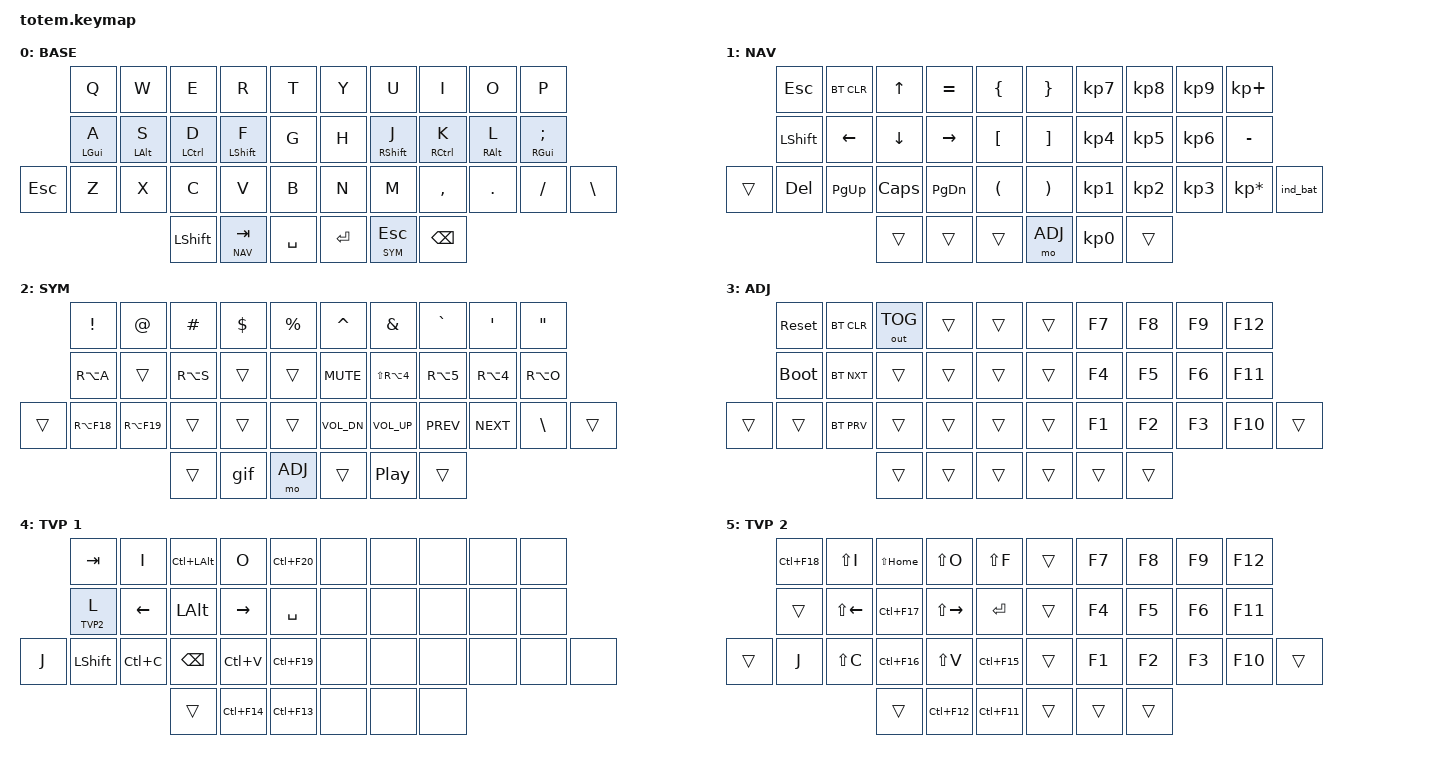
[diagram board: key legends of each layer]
//
//                                                        ▀▀▀▀▀     ▀▀▀▀▀          ▀▀█▀▀
//                                                        ▄▀▀▀▄  ▄  ▄▀▀▀▄  ▄  ▄▀▀▀▄  █  ▄▀▀▀▄
//                                                        █   █  █  █   █  █  █   █  █  █   █
//                                                         ▀▀▀   █   ▀▀▀   █   ▀▀▀   ▀   ▀▀▀
//                                                               █      ▄▄▄█▄▄▄    █   █  
//                                                               ▀      █  █  █     █▄█
//                                                             ▀▀▀▀▀    █  █  █      ▀
//                                                                      ▀  ▀  ▀
//
// ▄▄▄▄▄▄▄▄▄▄▄▄▄▄▄▄▄▄▄▄▄▄▄▄▄▄▄▄▄▄▄▄▄▄▄▄▄▄▄▄▄▄▄▄▄▄▄▄▄▄▄▄▄▄▄▄▄▄▄▄▄▄▄▄▄▄▄▄▄▄▄▄▄▄▄▄▄▄▄▄▄▄▄▄▄▄▄▄▄▄▄▄▄▄▄▄▄▄▄▄▄▄▄▄▄▄▄▄▄▄▄▄▄▄▄▄▄▄▄▄▄▄▄▄▄▄▄▄▄▄▄▄▄▄▄▄▄▄▄▄▄▄▄▄▄▄▄▄▄

#include <behaviors.dtsi>
#include <dt-bindings/zmk/bt.h>
#include <dt-bindings/zmk/keys.h>
#include <dt-bindings/zmk/outputs.h>
// RGB LED Widget behaviors (from rgbled_adapter shield)
#include <behaviors/rgbled_widget.dtsi>
// These behaviors are available when using the rgbled_adapter shield:
// - &ind_bat: Show battery level indicator (blinks once: green/yellow/red based on battery %)
// - &ind_con: Show connection status indicator (blinks: blue=connected, yellow=advertising, red=disconnected)
// - &ind_lyr: Show layer indicator (NOTE: it's ind_lyr, not ind_layer!)

#define BASE 0
#define NAV  1
#define SYM  2
#define ADJ  3
#define TVP1 4
#define TVP2 5

&mt {
    quick-tap-ms = <100>;
    global-quick-tap;
    flavor = "tap-preferred";
    tapping-term-ms = <170>;
};

/ {
    combos {
        compatible = "zmk,combos";

        combo_esc {
            timeout-ms = <50>;
            key-positions = <0 1>;
            bindings = <&kp ESC>;
        };

        combo_tvp {
            timeout-ms = <100>;
            key-positions = <11 12 13>;
            bindings = <&tog TVP1>;
        };
    };

    macros {
        gif: gif {
            label = "giphy";
            compatible = "zmk,behavior-macro";
            #binding-cells = <0>;
            bindings =
                <&macro_press>,
                <&kp LSHFT>,
                <&macro_tap>,
                <&kp N2>,
                <&macro_release>,
                <&kp LSHFT>,
                <&macro_tap>,
                <&kp G &kp I &kp F>;
        };
    };

    keymap {
        compatible = "zmk,keymap";

        // ▄▄▄▄▄▄▄▄▄▄▄▄▄▄▄▄▄▄▄▄▄▄▄▄▄▄▄▄▄▄▄▄▄▄▄▄▄▄▄▄▄▄▄▄▄▄▄▄▄▄▄▄▄▄▄▄▄▄▄▄▄▄▄▄▄▄▄▄▄▄▄▄▄▄▄▄▄▄▄▄▄▄▄▄▄▄▄▄▄▄▄▄▄▄▄▄▄▄▄▄▄▄▄▄▄▄▄▄▄▄▄▄▄▄▄▄▄▄▄▄▄▄▄▄▄▄▄▄▄▄▄▄▄▄▄▄▄▄▄▄▄▄▄▄▄▄▄▄▄

        base_layer {
            // ┏━━━━━━━━━━━━━━━━━━━━━━━━━━━━━━━━━━━━━━━┓

            label = "BASE";

            // ┗━━━━━━━━━━━━━━━━━━━━━━━━━━━━━━━━━━━━━━━┛
            //             ┏━━━━━━━━━━━┳━━━━━━━━━━━┳━━━━━━━━━━━┳━━━━━━━━━━━┳━━━━━━━━━━━┓   ┏━━━━━━━━━━━┳━━━━━━━━━━━┳━━━━━━━━━━━┳━━━━━━━━━━━┳━━━━━━━━━━━┓
            //             ┃     Q     ┃     W     ┃     E     ┃     R     ┃     T     ┃   ┃     Y     ┃     U     ┃     I     ┃     O     ┃     P     ┃
            //             ┣━━━━━━━━━━━╋━━━━━━━━━━━╋━━━━━━━━━━━╋━━━━━━━━━━━╋━━━━━━━━━━━┫   ┣━━━━━━━━━━━╋━━━━━━━━━━━╋━━━━━━━━━━━╋━━━━━━━━━━━╋━━━━━━━━━━━┫
            //             ┃     A     ┃     S     ┃     D     ┃     F     ┃     G     ┃   ┃     H     ┃     J     ┃     K     ┃     L     ┃     ;     ┃
            // ┏━━━━━━━━━━━╋━━━━━━━━━━━╋━━━━━━━━━━━╋━━━━━━━━━━━╋━━━━━━━━━━━╋━━━━━━━━━━━┫   ┣━━━━━━━━━━━╋━━━━━━━━━━━╋━━━━━━━━━━━╋━━━━━━━━━━━╋━━━━━━━━━━━╋━━━━━━━━━━━┓
            // ┃     Esc   ┃     Z     ┃     X     ┃     C     ┃     V     ┃     B     ┃   ┃     N     ┃     M     ┃     ,     ┃     .     ┃     /     ┃     \     ┃
            // ┗━━━━━━━━━━━┻━━━━━━━━━━━┻━━━━━━━━━━━╋━━━━━━━━━━━╋━━━━━━━━━━━╋━━━━━━━━━━━┫   ┣━━━━━━━━━━━╋━━━━━━━━━━━╋━━━━━━━━━━━╋━━━━━━━━━━━┻━━━━━━━━━━━┻━━━━━━━━━━━┛
            //                                     ┃    LSH    ┃    TAB    ┃    SPC    ┃   ┃   ENTER   ┃    ESC    ┃   BSPC    ┃
            //                                     ┗━━━━━━━━━━━┻━━━━━━━━━━━┻━━━━━━━━━━━┛   ┗━━━━━━━━━━━┻━━━━━━━━━━━┻━━━━━━━━━━━┛

            bindings = <
         &kp Q       &kp W       &kp E           &kp R        &kp T        &kp Y    &kp U        &kp I        &kp O       &kp P
         &mt LGUI A  &mt LALT S  &mt LCTRL D     &mt LSHFT F  &kp G        &kp H    &mt RSHFT J  &mt RCTRL K  &mt RALT L  &mt RGUI SEMICOLON
&kp ESC  &kp Z       &kp X       &kp C           &kp V        &kp B        &kp N    &kp M        &kp COMMA    &kp DOT     &kp FSLH            &kp BSLH
                                 &kp LEFT_SHIFT  &lt NAV TAB  &kp SPACE    &kp RET  &lt SYM ESC  &kp BSPC
            >;
        };

        // ▄▄▄▄▄▄▄▄▄▄▄▄▄▄▄▄▄▄▄▄▄▄▄▄▄▄▄▄▄▄▄▄▄▄▄▄▄▄▄▄▄▄▄▄▄▄▄▄▄▄▄▄▄▄▄▄▄▄▄▄▄▄▄▄▄▄▄▄▄▄▄▄▄▄▄▄▄▄▄▄▄▄▄▄▄▄▄▄▄▄▄▄▄▄▄▄▄▄▄▄▄▄▄▄▄▄▄▄▄▄▄▄▄▄▄▄▄▄▄▄▄▄▄▄▄▄▄▄▄▄▄▄▄▄▄▄▄▄▄▄▄▄▄▄▄▄▄▄▄

        nav_layer {
            // ┏━━━━━━━━━━━━━━━━━━━━━━━━━━━━━━━━━━━━━━━┓

            label = "NAV";

            // ┗━━━━━━━━━━━━━━━━━━━━━━━━━━━━━━━━━━━━━━━┛
            //             ┏━━━━━━━━━━━┳━━━━━━━━━━━┳━━━━━━━━━━━┳━━━━━━━━━━━┳━━━━━━━━━━━┓   ┏━━━━━━━━━━━┳━━━━━━━━━━━┳━━━━━━━━━━━┳━━━━━━━━━━━┳━━━━━━━━━━━┓
            //             ┃    ESC    ┃  BL_CLR   ┃     UP    ┃     =     ┃     {     ┃   ┃     }     ┃     7     ┃     8     ┃     9     ┃     +     ┃
            //             ┣━━━━━━━━━━━╋━━━━━━━━━━━╋━━━━━━━━━━━╋━━━━━━━━━━━╋━━━━━━━━━━━┫   ┣━━━━━━━━━━━╋━━━━━━━━━━━╋━━━━━━━━━━━╋━━━━━━━━━━━╋━━━━━━━━━━━┫
            //             ┃   SHIFT   ┃   LEFT    ┃    DOWN   ┃   RIGHT   ┃     [     ┃   ┃     ]     ┃     4     ┃     5     ┃     6     ┃     -     ┃
            // ┏━━━━━━━━━━━╋━━━━━━━━━━━╋━━━━━━━━━━━╋━━━━━━━━━━━╋━━━━━━━━━━━╋━━━━━━━━━━━┫   ┣━━━━━━━━━━━╋━━━━━━━━━━━╋━━━━━━━━━━━╋━━━━━━━━━━━╋━━━━━━━━━━━╋━━━━━━━━━━━┓
            // ┃           ┃    DEL    ┃   P UP    ┃  C LOCK   ┃  P DOWN   ┃     (     ┃   ┃     )     ┃     1     ┃     2     ┃     3     ┃     *     ┃    BAT    ┃
            // ┗━━━━━━━━━━━┻━━━━━━━━━━━┻━━━━━━━━━━━╋━━━━━━━━━━━╋━━━━━━━━━━━╋━━━━━━━━━━━┫   ┣━━━━━━━━━━━╋━━━━━━━━━━━╋━━━━━━━━━━━╋━━━━━━━━━━━┻━━━━━━━━━━━┻━━━━━━━━━━━┛
            //                                     ┃           ┃           ┃           ┃   ┃           ┃     0     ┃           ┃
            //                                     ┗━━━━━━━━━━━┻━━━━━━━━━━━┻━━━━━━━━━━━┛   ┗━━━━━━━━━━━┻━━━━━━━━━━━┻━━━━━━━━━━━┛

            bindings = <
        &kp ESC    &bt BT_CLR  &kp UP    &kp EQUAL  &kp LBRC    &kp RBRC  &kp KP_N7  &kp KP_N8  &kp KP_N9  &kp KP_PLUS
        &kp LSHFT  &kp LEFT    &kp DOWN  &kp RIGHT  &kp LBKT    &kp RBKT  &kp KP_N4  &kp KP_N5  &kp KP_N6  &kp MINUS
&trans  &kp DEL    &kp PG_UP   &kp CAPS  &kp PG_DN  &kp LPAR    &kp RPAR  &kp KP_N1  &kp KP_N2  &kp KP_N3  &kp KP_MULTIPLY  &ind_bat
                               &trans    &trans     &trans      &mo ADJ   &kp KP_N0  &trans
            >;
        };

        // ▄▄▄▄▄▄▄▄▄▄▄▄▄▄▄▄▄▄▄▄▄▄▄▄▄▄▄▄▄▄▄▄▄▄▄▄▄▄▄▄▄▄▄▄▄▄▄▄▄▄▄▄▄▄▄▄▄▄▄▄▄▄▄▄▄▄▄▄▄▄▄▄▄▄▄▄▄▄▄▄▄▄▄▄▄▄▄▄▄▄▄▄▄▄▄▄▄▄▄▄▄▄▄▄▄▄▄▄▄▄▄▄▄▄▄▄▄▄▄▄▄▄▄▄▄▄▄▄▄▄▄▄▄▄▄▄▄▄▄▄▄▄▄▄▄▄▄▄▄

        sim_layer {
            // ┏━━━━━━━━━━━━━━━━━━━━━━━━━━━━━━━━━━━━━━━┓

            label = "SYM";

            // ┗━━━━━━━━━━━━━━━━━━━━━━━━━━━━━━━━━━━━━━━┛
            //             ┏━━━━━━━━━━━┳━━━━━━━━━━━┳━━━━━━━━━━━┳━━━━━━━━━━━┳━━━━━━━━━━━┓   ┏━━━━━━━━━━━┳━━━━━━━━━━━┳━━━━━━━━━━━┳━━━━━━━━━━━┳━━━━━━━━━━━┓
            //             ┃     !     ┃     @     ┃     #     ┃     $     ┃     %     ┃   ┃     ˆ     ┃     &     ┃     `     ┃     '     ┃     "     ┃
            //             ┣━━━━━━━━━━━╋━━━━━━━━━━━╋━━━━━━━━━━━╋━━━━━━━━━━━╋━━━━━━━━━━━┫   ┣━━━━━━━━━━━╋━━━━━━━━━━━╋━━━━━━━━━━━╋━━━━━━━━━━━╋━━━━━━━━━━━┫
            //             ┃     Ä     ┃           ┃    SZ     ┃           ┃           ┃   ┃   MUTE    ┃   YEN     ┃   EURO    ┃  POUND    ┃     Ö     ┃
            // ┏━━━━━━━━━━━╋━━━━━━━━━━━╋━━━━━━━━━━━╋━━━━━━━━━━━╋━━━━━━━━━━━╋━━━━━━━━━━━┫   ┣━━━━━━━━━━━╋━━━━━━━━━━━╋━━━━━━━━━━━╋━━━━━━━━━━━╋━━━━━━━━━━━╋━━━━━━━━━━━┓
            // ┃           ┃  EMAIL1   ┃  EMAIL2   ┃           ┃           ┃           ┃   ┃   VOL-    ┃   VOL+    ┃   LAST    ┃   NEXT    ┃     \     ┃           ┃
            // ┗━━━━━━━━━━━┻━━━━━━━━━━━┻━━━━━━━━━━━╋━━━━━━━━━━━╋━━━━━━━━━━━╋━━━━━━━━━━━┫   ┣━━━━━━━━━━━╋━━━━━━━━━━━╋━━━━━━━━━━━╋━━━━━━━━━━━┻━━━━━━━━━━━┻━━━━━━━━━━━┛
            //                                     ┃           ┃    GIF    ┃    ADJ    ┃   ┃           ┃           ┃           ┃
            //                                     ┗━━━━━━━━━━━┻━━━━━━━━━━━┻━━━━━━━━━━━┛   ┗━━━━━━━━━━━┻━━━━━━━━━━━┻━━━━━━━━━━━┛

            bindings = <
        &kp EXCL     &kp AT       &kp HASH   &kp DLLR  &kp PRCNT    &kp CARET     &kp AMPS        &kp GRAVE   &kp SQT     &kp DQT
        &kp RA(A)    &trans       &kp RA(S)  &trans    &trans       &kp C_MUTE    &kp LS(RA(N4))  &kp RA(N5)  &kp RA(N4)  &kp RA(O)
&trans  &kp RA(F18)  &kp RA(F19)  &trans     &trans    &trans       &kp C_VOL_DN  &kp C_VOL_UP    &kp C_PREV  &kp C_NEXT  &kp BSLH   &trans
                                  &trans     &gif      &mo ADJ      &trans        &kp C_PP        &trans
            >;
        };

        // ▄▄▄▄▄▄▄▄▄▄▄▄▄▄▄▄▄▄▄▄▄▄▄▄▄▄▄▄▄▄▄▄▄▄▄▄▄▄▄▄▄▄▄▄▄▄▄▄▄▄▄▄▄▄▄▄▄▄▄▄▄▄▄▄▄▄▄▄▄▄▄▄▄▄▄▄▄▄▄▄▄▄▄▄▄▄▄▄▄▄▄▄▄▄▄▄▄▄▄▄▄▄▄▄▄▄▄▄▄▄▄▄▄▄▄▄▄▄▄▄▄▄▄▄▄▄▄▄▄▄▄▄▄▄▄▄▄▄▄▄▄▄▄▄▄▄▄▄▄

        adjust_layer {
            // ┏━━━━━━━━━━━━━━━━━━━━━━━━━━━━━━━━━━━━━━━┓

            label = "ADJ";

            // ┗━━━━━━━━━━━━━━━━━━━━━━━━━━━━━━━━━━━━━━━┛
            //             ┏━━━━━━━━━━━┳━━━━━━━━━━━┳━━━━━━━━━━━┳━━━━━━━━━━━┳━━━━━━━━━━━┓   ┏━━━━━━━━━━━┳━━━━━━━━━━━┳━━━━━━━━━━━┳━━━━━━━━━━━┳━━━━━━━━━━━┓
            //             ┃   RESET   ┃ BT CLEAR  ┃  OUT TOG  ┃           ┃           ┃   ┃           ┃    F7     ┃    F8     ┃    F9     ┃    F12    ┃
            //             ┣━━━━━━━━━━━╋━━━━━━━━━━━╋━━━━━━━━━━━╋━━━━━━━━━━━╋━━━━━━━━━━━┫   ┣━━━━━━━━━━━╋━━━━━━━━━━━╋━━━━━━━━━━━╋━━━━━━━━━━━╋━━━━━━━━━━━┫
            //             ┃ BOOTLOAD  ┃ BT NEXT   ┃           ┃           ┃           ┃   ┃           ┃    F4     ┃    F5     ┃    F6     ┃    F11    ┃
            // ┏━━━━━━━━━━━╋━━━━━━━━━━━╋━━━━━━━━━━━╋━━━━━━━━━━━╋━━━━━━━━━━━╋━━━━━━━━━━━┫   ┣━━━━━━━━━━━╋━━━━━━━━━━━╋━━━━━━━━━━━╋━━━━━━━━━━━╋━━━━━━━━━━━╋━━━━━━━━━━━┓
            // ┃           ┃           ┃ BT PREV   ┃           ┃           ┃           ┃   ┃           ┃    F1     ┃    F2     ┃    F3     ┃    F10    ┃           ┃
            // ┗━━━━━━━━━━━┻━━━━━━━━━━━┻━━━━━━━━━━━╋━━━━━━━━━━━╋━━━━━━━━━━━╋━━━━━━━━━━━┫   ┣━━━━━━━━━━━╋━━━━━━━━━━━╋━━━━━━━━━━━╋━━━━━━━━━━━┻━━━━━━━━━━━┻━━━━━━━━━━━┛
            //                                     ┃           ┃           ┃           ┃   ┃           ┃           ┃           ┃
            //                                     ┗━━━━━━━━━━━┻━━━━━━━━━━━┻━━━━━━━━━━━┛   ┗━━━━━━━━━━━┻━━━━━━━━━━━┻━━━━━━━━━━━┛

            bindings = <
        &sys_reset   &bt BT_CLR  &out OUT_TOG  &trans  &trans    &trans  &kp F7  &kp F8  &kp F9  &kp F12
        &bootloader  &bt BT_NXT  &trans        &trans  &trans    &trans  &kp F4  &kp F5  &kp F6  &kp F11
&trans  &trans       &bt BT_PRV  &trans        &trans  &trans    &trans  &kp F1  &kp F2  &kp F3  &kp F10  &trans
                                 &trans        &trans  &trans    &trans  &trans  &trans
            >;
            // Example: To add LED indicator behaviors, you can use:
            // &ind_bat    - Show battery level (blinks color based on battery %)
            // &ind_con    - Show connection status (blinks to show BT connection)
            // &ind_layer  - Show current layer (blinks color based on active layer)
            // 
            // For example, to show battery on a keypress:
            // Replace &trans with &ind_bat in any position above
        };

        // ▄▄▄▄▄▄▄▄▄▄▄▄▄▄▄▄▄▄▄▄▄▄▄▄▄▄▄▄▄▄▄▄▄▄▄▄▄▄▄▄▄▄▄▄▄▄▄▄▄▄▄▄▄▄▄▄▄▄▄▄▄▄▄▄▄▄▄▄▄▄▄▄▄▄▄▄▄▄▄▄▄▄▄▄▄▄▄▄▄▄▄▄▄▄▄▄▄▄▄▄▄▄▄▄▄▄▄▄▄▄▄▄▄▄▄▄▄▄▄▄▄▄▄▄▄▄▄▄▄▄▄▄▄▄▄▄▄▄▄▄▄▄▄▄▄▄▄▄▄

        tvp1_layer {
            // ┏━━━━━━━━━━━━━━━━━━━━━━━━━━━━━━━━━━━━━━━┓

            label = "TVP 1";

            // ┗━━━━━━━━━━━━━━━━━━━━━━━━━━━━━━━━━━━━━━━┛
            //             ┏━━━━━━━━━━━┳━━━━━━━━━━━┳━━━━━━━━━━━┳━━━━━━━━━━━┳━━━━━━━━━━━┓   ┏━━━━━━━━━━━┳━━━━━━━━━━━┳━━━━━━━━━━━┳━━━━━━━━━━━┳━━━━━━━━━━━┓
            //             ┃ NEXT FILE ┃ MARK IN   ┃ ROTATE    ┃ MARK OUT  ┃ SHOW SNAP ┃   ┃           ┃           ┃           ┃           ┃           ┃
            //             ┣━━━━━━━━━━━╋━━━━━━━━━━━╋━━━━━━━━━━━╋━━━━━━━━━━━╋━━━━━━━━━━━┫   ┣━━━━━━━━━━━╋━━━━━━━━━━━╋━━━━━━━━━━━╋━━━━━━━━━━━╋━━━━━━━━━━━┫
            //             ┃ TVP II    ┃ LEFT      ┃ PAN       ┃ RIGHT     ┃ PLAY/FLIP ┃   ┃           ┃           ┃           ┃           ┃           ┃
            // ┏━━━━━━━━━━━╋━━━━━━━━━━━╋━━━━━━━━━━━╋━━━━━━━━━━━╋━━━━━━━━━━━╋━━━━━━━━━━━┫   ┣━━━━━━━━━━━╋━━━━━━━━━━━╋━━━━━━━━━━━╋━━━━━━━━━━━╋━━━━━━━━━━━╋━━━━━━━━━━━┓
            // ┃ FULLSCR   ┃ SHIFT     ┃ COPY      ┃ DELETE    ┃ PASTE     ┃ IMG MARK  ┃   ┃           ┃           ┃           ┃           ┃           ┃           ┃
            // ┗━━━━━━━━━━━┻━━━━━━━━━━━┻━━━━━━━━━━━╋━━━━━━━━━━━╋━━━━━━━━━━━╋━━━━━━━━━━━┫   ┣━━━━━━━━━━━╋━━━━━━━━━━━╋━━━━━━━━━━━╋━━━━━━━━━━━┻━━━━━━━━━━━┻━━━━━━━━━━━┛
            //                                     ┃           ┃ UNDO/SAVE ┃  SEL/MOV  ┃   ┃           ┃           ┃           ┃
            //                                     ┗━━━━━━━━━━━┻━━━━━━━━━━━┻━━━━━━━━━━━┛   ┗━━━━━━━━━━━┻━━━━━━━━━━━┻━━━━━━━━━━━┛

            bindings = <
       &kp TAB     &kp I      &kp LC(LALT)  &kp O        &kp LC(F20)    &none  &none  &none  &none  &none
       &lt TVP2 L  &kp LEFT   &kp LALT      &kp RIGHT    &kp SPACE      &none  &none  &none  &none  &none
&kp J  &kp LSHFT   &kp LC(C)  &kp BSPC      &kp LC(V)    &kp LC(F19)    &none  &none  &none  &none  &none  &none
                              &trans        &kp LC(F14)  &kp LC(F13)    &none  &none  &none
            >;
        };

        // ▄▄▄▄▄▄▄▄▄▄▄▄▄▄▄▄▄▄▄▄▄▄▄▄▄▄▄▄▄▄▄▄▄▄▄▄▄▄▄▄▄▄▄▄▄▄▄▄▄▄▄▄▄▄▄▄▄▄▄▄▄▄▄▄▄▄▄▄▄▄▄▄▄▄▄▄▄▄▄▄▄▄▄▄▄▄▄▄▄▄▄▄▄▄▄▄▄▄▄▄▄▄▄▄▄▄▄▄▄▄▄▄▄▄▄▄▄▄▄▄▄▄▄▄▄▄▄▄▄▄▄▄▄▄▄▄▄▄▄▄▄▄▄▄▄▄▄▄▄

        tvp2_layer {
            // ┏━━━━━━━━━━━━━━━━━━━━━━━━━━━━━━━━━━━━━━━┓

            label = "TVP 2";

            // ┗━━━━━━━━━━━━━━━━━━━━━━━━━━━━━━━━━━━━━━━┛
            //             ┏━━━━━━━━━━━┳━━━━━━━━━━━┳━━━━━━━━━━━┳━━━━━━━━━━━┳━━━━━━━━━━━┓   ┏━━━━━━━━━━━┳━━━━━━━━━━━┳━━━━━━━━━━━┳━━━━━━━━━━━┳━━━━━━━━━━━┓
            //             ┃ SOLO      ┃ TOGGLE IN ┃ RESET ROT ┃ TOGGLE OUT┃ TAKE SNAP ┃   ┃           ┃           ┃           ┃           ┃           ┃
            //             ┣━━━━━━━━━━━╋━━━━━━━━━━━╋━━━━━━━━━━━╋━━━━━━━━━━━╋━━━━━━━━━━━┫   ┣━━━━━━━━━━━╋━━━━━━━━━━━╋━━━━━━━━━━━╋━━━━━━━━━━━╋━━━━━━━━━━━┫
            //             ┃ ---       ┃ LAST KEY  ┃ NEW KEY   ┃ NEXT KEY  ┃ ENTER     ┃   ┃           ┃           ┃           ┃           ┃           ┃
            // ┏━━━━━━━━━━━╋━━━━━━━━━━━╋━━━━━━━━━━━╋━━━━━━━━━━━╋━━━━━━━━━━━╋━━━━━━━━━━━┫   ┣━━━━━━━━━━━╋━━━━━━━━━━━╋━━━━━━━━━━━╋━━━━━━━━━━━╋━━━━━━━━━━━╋━━━━━━━━━━━┓
            // ┃           ┃ FULLSCR   ┃ CPY2BRUSH ┃ DEL HEAD  ┃ PSTinPLACE┃ BOOK MARK ┃   ┃           ┃           ┃           ┃           ┃           ┃           ┃
            // ┗━━━━━━━━━━━┻━━━━━━━━━━━┻━━━━━━━━━━━╋━━━━━━━━━━━╋━━━━━━━━━━━╋━━━━━━━━━━━┫   ┣━━━━━━━━━━━╋━━━━━━━━━━━╋━━━━━━━━━━━╋━━━━━━━━━━━┻━━━━━━━━━━━┻━━━━━━━━━━━┛
            //                                     ┃           ┃ REDO/SAV1 ┃TRANS/WARP ┃   ┃           ┃           ┃           ┃
            //                                     ┗━━━━━━━━━━━┻━━━━━━━━━━━┻━━━━━━━━━━━┛   ┗━━━━━━━━━━━┻━━━━━━━━━━━┻━━━━━━━━━━━┛

            bindings = <
        &kp LC(F18)  &kp LS(I)     &kp LS(HOME)  &kp LS(O)      &kp LS(F)      &trans  &kp F7  &kp F8  &kp F9  &kp F12
        &trans       &kp LS(LEFT)  &kp LC(F17)   &kp LS(RIGHT)  &kp RET        &trans  &kp F4  &kp F5  &kp F6  &kp F11
&trans  &kp J        &kp LS(C)     &kp LC(F16)   &kp LS(V)      &kp LC(F15)    &trans  &kp F1  &kp F2  &kp F3  &kp F10  &trans
                                   &trans        &kp LC(F12)    &kp LC(F11)    &trans  &trans  &trans
            >;
        };
    };
};
